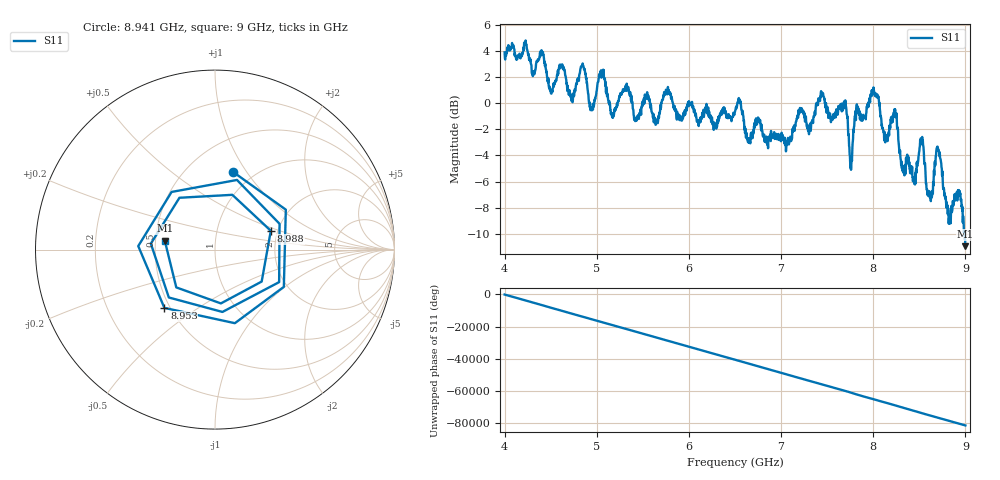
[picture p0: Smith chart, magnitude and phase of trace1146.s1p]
! Created with skrf 1.8.0 (http://scikit-rf.org).
# Hz S RI R 50.0
!freq ReS11 ImS11
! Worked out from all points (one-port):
!   1601 points, 4 GHz to 9 GHz, reference 50 ohm
!   lowest |S11| = -10.9 dB at 9 GHz (marker M1), VSWR 1.79, Z = 28 + j3.01 ohm
!   |S11| at or under -10 dB: 8.990752 GHz to end of sweep
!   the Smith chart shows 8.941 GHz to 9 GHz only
!   S11 on the Smith chart (normalised r, x): 8.941 GHz: 0.80, +0.87; 8.953 GHz: 0.47, -0.37; 8.988 GHz: 1.84, +0.43; 9 GHz: 0.56, +0.06
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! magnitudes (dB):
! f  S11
! 4 GHz  3.9
! 4.403 GHz  4.0
! 4.503 GHz  0.8
! 4.625 GHz  3.0
! 4.731 GHz  0.4
! 4.853 GHz  2.9
! 4.944 GHz  -0.5
! 5.05 GHz  1.9
! 5.166 GHz  -1.0
! 5.25 GHz  0.5
! 5.875 GHz  -1.0
! 6.5 GHz  -0.6
! 6.644 GHz  -2.7
! 7.125 GHz  -2.2
! 7.447 GHz  0.6
! 7.697 GHz  0.2
! 7.75 GHz  -4.6
! 7.819 GHz  -0.3
! 8.009 GHz  0.9
! 8.375 GHz  -4.2
! 8.525 GHz  -2.9
! 8.622 GHz  -7.1
! 8.703 GHz  -3.5
! 8.816 GHz  -8.3
! 8.941 GHz  -7.0
! 8.953 GHz  -7.3
! 8.988 GHz  -9.7
! 9 GHz  -10.9
